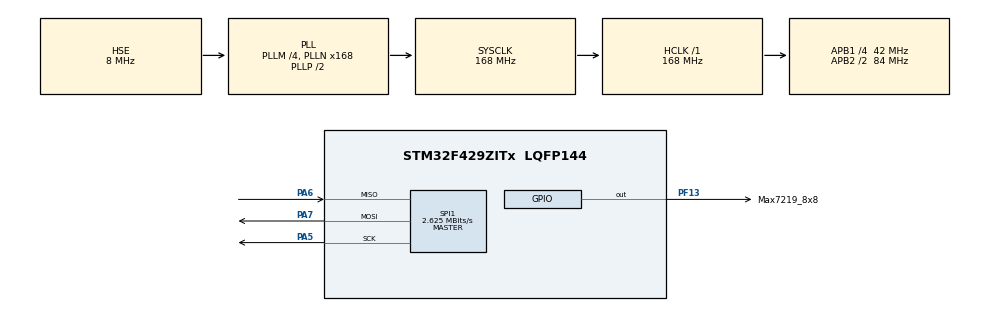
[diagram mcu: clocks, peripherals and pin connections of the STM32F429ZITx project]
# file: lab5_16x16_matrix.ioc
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FREERTOS.Tasks01=defaultTask,24,128,StartDefaultTask,Default,NULL,Dynamic,NULL,NULL
Mcu.Family=STM32F4
Mcu.Name=STM32F429ZITx
Mcu.Package=LQFP144
NVIC.PriorityGroup=NVIC_PRIORITYGROUP_4
PA13.Mode=Serial_Wire
PA13.Signal=SYS_JTMS-SWDIO
PA14.Mode=Serial_Wire
PA14.Signal=SYS_JTCK-SWCLK
PA5.Mode=Full_Duplex_Master
PA5.Signal=SPI1_SCK
PA6.Mode=Full_Duplex_Master
PA6.Signal=SPI1_MISO
PA7.Mode=Full_Duplex_Master
PA7.Signal=SPI1_MOSI
PC14/OSC32_IN.Mode=LSE-External-Oscillator
PC14/OSC32_IN.Signal=RCC_OSC32_IN
PC15/OSC32_OUT.Mode=LSE-External-Oscillator
PC15/OSC32_OUT.Signal=RCC_OSC32_OUT
PF13.GPIO_Label=Max7219_8x8
PF13.Signal=GPIO_Output
PH0/OSC_IN.Mode=HSE-External-Oscillator
PH0/OSC_IN.Signal=RCC_OSC_IN
PH1/OSC_OUT.Mode=HSE-External-Oscillator
PH1/OSC_OUT.Signal=RCC_OSC_OUT
ProjectManager.HeapSize=0x200
ProjectManager.StackSize=0x400
ProjectManager.TargetToolchain=MDK-ARM V5.32
RCC.48MHZClocksFreq_Value=48000000
RCC.AHBFreq_Value=168000000
RCC.APB1CLKDivider=RCC_HCLK_DIV4
RCC.APB1Freq_Value=42000000
RCC.APB1TimFreq_Value=84000000
RCC.APB2CLKDivider=RCC_HCLK_DIV2
RCC.APB2Freq_Value=84000000
RCC.APB2TimCLKDivider=2
RCC.APB2TimFreq_Value=168000000
RCC.CortexFreq_Value=168000000
RCC.HCLKFreq_Value=168000000
RCC.HSE_VALUE=8000000
RCC.HSI_VALUE=16000000
RCC.PLLM=4
RCC.PLLMUL=RCC_PLL_MUL9
RCC.PLLN=168
RCC.PLLQ=7
RCC.PLLSourceVirtual=RCC_PLLSOURCE_HSE
RCC.PRESCALERUSB=RCC_USBCLKSOURCE_PLL_DIV1_5
RCC.SYSCLKFreq_VALUE=168000000
RCC.SYSCLKSource=RCC_SYSCLKSOURCE_PLLCLK
RCC.SYSCLKSourceVirtual=RCC_SYSCLKSOURCE_PLLCLK
RCC.USBFreq_Value=48000000
RCC.VCOOutputFreq_Value=336000000
SPI1.BaudRatePrescaler=SPI_BAUDRATEPRESCALER_32
SPI1.CalculateBaudRate=2.625 MBits/s
SPI1.Direction=SPI_DIRECTION_2LINES
SPI1.Mode=SPI_MODE_MASTER
SPI1.VirtualType=VM_MASTER
VP_FREERTOS_VS_CMSIS_V2.Mode=CMSIS_V2
board=NUCLEO-F429ZI

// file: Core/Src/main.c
/* USER CODE BEGIN Header */
/**
  ******************************************************************************
  * @file           : main.c
  * @brief          : Main program body
  ******************************************************************************
  * @attention
  *
  * Copyright (c) 2024 STMicroelectronics.
  * All rights reserved.
  *
  * This software is licensed under terms that can be found in the LICENSE file
  * in the root directory of this software component.
  * If no LICENSE file comes with this software, it is provided AS-IS.
  *
  ******************************************************************************
  */
/* USER CODE END Header */
#include "main.h"
#include "cmsis_os.h"
#include "spi.h"
#include "gpio.h"

/* USER CODE BEGIN Includes */
#include "FreeRTOS.h"
#include "queue.h"
#include "task.h"
#include "max7219.h"
/* USER CODE END Includes */

/* USER CODE BEGIN PV */
//matrix
uint8_t YunTech_Logo[6][32] = {

	{
		0x00,0x00,0x00,0x20,0x1F,0xF0,0x41,0x04,
		0x7F,0xFE,0x41,0x04,0x99,0x30,0x05,0x40,
		0x19,0x30,0x00,0x00,0x1F,0xF0,0x00,0x04,
		0xFF,0xFE,0x04,0x20,0x3F,0xF8,0x10,0x08
	},

	{
		/*
		0x00, 0x00 > top left, top right
		0x36, 0x70 > bottom left, bottom right
		*/
		//top
		0x00,0x00,0x18,0x30,0x10,0x20,0x14,0x24,
		0xFE,0xFE,0x10,0x20,0x30,0x60,0x38,0x70,
		//bottom
		0x36,0x70,0x52,0xA8,0x50,0xAC,0x91,0x26,
		0x12,0x24,0x10,0x20,0x10,0x20,0x10,0x20
	},

	{
		0x00,0x00,0x1C,0x18,0xF1,0x10,0x10,0xD0,
		0x14,0x50,0xFE,0x10,0x11,0x10,0x30,0xD0,
		0x38,0x50,0x54,0x14,0x50,0x1E,0x93,0xF0,
		0x10,0x10,0x10,0x10,0x10,0x10,0x10,0x10
	},

	{
		0x00,0x00,0x30,0x30,0x20,0x20,0x20,0x24,
		0xFB,0xFE,0x20,0x20,0x20,0x28,0x29,0xFC,
		0x30,0x88,0xE0,0x88,0xA0,0x50,0x20,0x50,
		0x20,0x20,0x20,0x50,0xE0,0x88,0x43,0x06
	},

	{
		0x00,0x00,0x01,0x80,0x01,0x00,0x01,0x00,
		0x01,0x04,0xFF,0xFE,0x01,0x00,0x01,0x00,
		0x03,0x00,0x02,0x80,0x04,0x40,0x04,0x40,
		0x08,0x20,0x10,0x10,0x20,0x0E,0xC0,0x04
	},

	{
		0x00,0x00,0x2A,0x88,0x31,0x3C,0x22,0x88,
		0x38,0x38,0x22,0x88,0x39,0x38,0x22,0x88,
		0x7F,0xFE,0x40,0x04,0x8F,0xE8,0x00,0x40,
		0x7F,0xFC,0x00,0x80,0x03,0x80,0x01,0x00
	}
};

uint8_t Max7219_data[4];
TaskHandle_t handleMatrix;
/* USER CODE END PV */

void SystemClock_Config(void);
void MX_FREERTOS_Init(void);

/* USER CODE BEGIN 0 */
void taskMatrix(void *pvParm){
	while(1){
		for(int l = 0; l < 6; l++)//total 6 words
		{
			for(int i = 0; i < 8; i++)//one step one line > so run 8 times
			{
				Max7219_data[0] = YunTech_Logo[l][i*2];//top left
				Max7219_data[1] = YunTech_Logo[l][i*2 + 1];//top right
				Max7219_data[2] = YunTech_Logo[l][i*2 + 16];//bottom left
				Max7219_data[3] = YunTech_Logo[l][i*2 + 17];//bottom right
				Write_Matrix(i + 1, Max7219_data);
			}
			vTaskDelay(1000);
		}
	}
}
/* USER CODE END 0 */

int main(void)
{

  /* MCU Configuration--------------------------------------------------------*/

  /* Reset of all peripherals, Initializes the Flash interface and the Systick. */
  HAL_Init();

  /* Configure the system clock */
  SystemClock_Config();

  /* Initialize all configured peripherals */
  MX_GPIO_Init();
  MX_SPI1_Init();
  /* USER CODE BEGIN 2 */
	Init_MAX7219_8x8();
	xTaskCreate(taskMatrix, "Matrix", 512, NULL, 1, &handleMatrix);
  vTaskStartScheduler();
  /* USER CODE END 2 */

  /* Init scheduler */
  osKernelInitialize();  /* Call init function for freertos objects (in freertos.c) */
  MX_FREERTOS_Init();

  /* Start scheduler */
  osKernelStart();

  /* We should never get here as control is now taken by the scheduler */
  /* Infinite loop */
  while (1)
  {

  }
}

void SystemClock_Config(void)
{
  RCC_OscInitTypeDef RCC_OscInitStruct = {0};
  RCC_ClkInitTypeDef RCC_ClkInitStruct = {0};

  /** Configure the main internal regulator output voltage
  */
  __HAL_RCC_PWR_CLK_ENABLE();
  __HAL_PWR_VOLTAGESCALING_CONFIG(PWR_REGULATOR_VOLTAGE_SCALE1);

  /** Initializes the RCC Oscillators according to the specified parameters
  * in the RCC_OscInitTypeDef structure.
  */
  RCC_OscInitStruct.OscillatorType = RCC_OSCILLATORTYPE_HSE;
  RCC_OscInitStruct.HSEState = RCC_HSE_ON;
  RCC_OscInitStruct.PLL.PLLState = RCC_PLL_ON;
  RCC_OscInitStruct.PLL.PLLSource = RCC_PLLSOURCE_HSE;
  RCC_OscInitStruct.PLL.PLLM = 4;
  RCC_OscInitStruct.PLL.PLLN = 168;
  RCC_OscInitStruct.PLL.PLLP = RCC_PLLP_DIV2;
  RCC_OscInitStruct.PLL.PLLQ = 7;
  if (HAL_RCC_OscConfig(&RCC_OscInitStruct) != HAL_OK)
  {
    Error_Handler();
  }

  /** Initializes the CPU, AHB and APB buses clocks
  */
  RCC_ClkInitStruct.ClockType = RCC_CLOCKTYPE_HCLK|RCC_CLOCKTYPE_SYSCLK
                              |RCC_CLOCKTYPE_PCLK1|RCC_CLOCKTYPE_PCLK2;
  RCC_ClkInitStruct.SYSCLKSource = RCC_SYSCLKSOURCE_PLLCLK;
  RCC_ClkInitStruct.AHBCLKDivider = RCC_SYSCLK_DIV1;
  RCC_ClkInitStruct.APB1CLKDivider = RCC_HCLK_DIV4;
  RCC_ClkInitStruct.APB2CLKDivider = RCC_HCLK_DIV2;

  if (HAL_RCC_ClockConfig(&RCC_ClkInitStruct, FLASH_LATENCY_5) != HAL_OK)
  {
    Error_Handler();
  }
}

void Error_Handler(void)
{
  __disable_irq();
  while (1)
  {
  }
}
